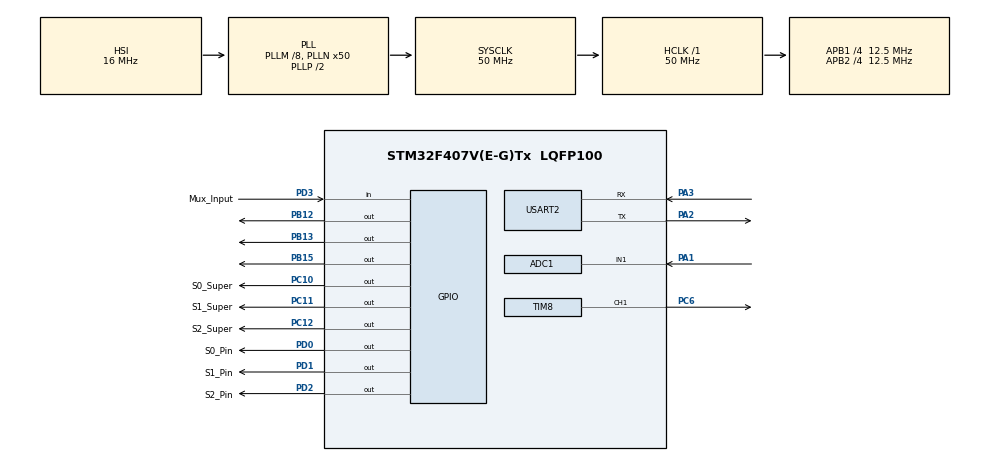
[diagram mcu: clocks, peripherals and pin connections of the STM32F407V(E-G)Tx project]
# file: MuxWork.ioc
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ADC1.Channel-0\#ChannelRegularConversion=ADC_CHANNEL_1
ADC1.NbrOfConversionFlag=1
ADC1.Rank-0\#ChannelRegularConversion=1
ADC1.SamplingTime-0\#ChannelRegularConversion=ADC_SAMPLETIME_3CYCLES
ADC1.master=1
Dma.Request0=TIM8_CH1
Dma.TIM8_CH1.0.Direction=DMA_MEMORY_TO_PERIPH
Dma.TIM8_CH1.0.FIFOMode=DMA_FIFOMODE_DISABLE
Dma.TIM8_CH1.0.Instance=DMA2_Stream2
Dma.TIM8_CH1.0.MemDataAlignment=DMA_MDATAALIGN_HALFWORD
Dma.TIM8_CH1.0.MemInc=DMA_MINC_ENABLE
Dma.TIM8_CH1.0.Mode=DMA_NORMAL
Dma.TIM8_CH1.0.PeriphDataAlignment=DMA_PDATAALIGN_HALFWORD
Dma.TIM8_CH1.0.PeriphInc=DMA_PINC_DISABLE
Dma.TIM8_CH1.0.Priority=DMA_PRIORITY_HIGH
Mcu.Family=STM32F4
Mcu.Name=STM32F407V(E-G)Tx
Mcu.Package=LQFP100
NVIC.DMA2_Stream2_IRQn=true\:0\:0\:false\:false\:true\:false\:true
NVIC.PriorityGroup=NVIC_PRIORITYGROUP_0
NVIC.TIM1_UP_TIM10_IRQn=true\:0\:0\:false\:false\:true\:false\:true
NVIC.TimeBase=TIM1_UP_TIM10_IRQn
NVIC.TimeBaseIP=TIM1
PA1.Signal=ADCx_IN1
PA2.Mode=Asynchronous
PA2.Signal=USART2_TX
PA3.Mode=Asynchronous
PA3.Signal=USART2_RX
PB12.Signal=GPIO_Output
PB13.Signal=GPIO_Output
PB15.Signal=GPIO_Output
PC10.GPIO_Label=S0_Super
PC10.Signal=GPIO_Output
PC11.GPIO_Label=S1_Super
PC11.Signal=GPIO_Output
PC12.GPIO_Label=S2_Super
PC12.Signal=GPIO_Output
PC6.Signal=S_TIM8_CH1
PD0.GPIO_Label=S0_Pin
PD0.Signal=GPIO_Output
PD1.GPIO_Label=S1_Pin
PD1.Signal=GPIO_Output
PD2.GPIO_Label=S2_Pin
PD2.Signal=GPIO_Output
PD3.GPIO_Label=Mux_Input
PD3.Signal=GPIO_Input
ProjectManager.HeapSize=0x200
ProjectManager.StackSize=0x400
ProjectManager.TargetToolchain=STM32CubeIDE
RCC.48MHZClocksFreq_Value=14285714.285714285
RCC.AHBFreq_Value=50000000
RCC.APB1CLKDivider=RCC_HCLK_DIV4
RCC.APB1Freq_Value=12500000
RCC.APB1TimFreq_Value=25000000
RCC.APB2CLKDivider=RCC_HCLK_DIV4
RCC.APB2Freq_Value=12500000
RCC.APB2TimFreq_Value=25000000
RCC.CortexFreq_Value=50000000
RCC.HCLKFreq_Value=50000000
RCC.HSE_VALUE=8000000
RCC.HSI_VALUE=16000000
RCC.LSE_VALUE=32768
RCC.PLLM=8
RCC.PLLN=50
RCC.PLLQ=7
RCC.SYSCLKFreq_VALUE=50000000
RCC.SYSCLKSource=RCC_SYSCLKSOURCE_PLLCLK
RCC.VCOOutputFreq_Value=100000000
SH.ADCx_IN1.0=ADC1_IN1,IN1
SH.S_TIM8_CH1.0=TIM8_CH1,PWM Generation1 CH1
TIM8.Channel-PWM\ Generation1\ CH1=TIM_CHANNEL_1
TIM8.Period=104
USART2.VirtualMode=VM_ASYNC
VP_SYS_VS_tim1.Mode=TIM1
VP_TIM8_VS_ClockSourceINT.Mode=Internal
board=STM32F407G-DISC1

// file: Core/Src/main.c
/* USER CODE BEGIN Header */
/**
  ******************************************************************************
  * @file           : main.c
  * @brief          : Main program body
  ******************************************************************************
  * @attention
  *
  * <h2><center>&copy; Copyright (c) 2021 STMicroelectronics.
  * All rights reserved.</center></h2>
  *
  * This software component is licensed by ST under Ultimate Liberty license
  * SLA0044, the "License"; You may not use this file except in compliance with
  * the License. You may obtain a copy of the License at:
  *                             www.st.com/SLA0044
  *
  ******************************************************************************
  */
/* USER CODE END Header */
#include "main.h"

/* USER CODE BEGIN PD */
#define CS_HIGH HAL_GPIO_WritePin(GPIOB, GPIO_PIN_12, GPIO_PIN_SET)

#define CS_LOW HAL_GPIO_WritePin(GPIOB, GPIO_PIN_12, GPIO_PIN_RESET)

#define CLK_HIGH HAL_GPIO_WritePin(GPIOB, GPIO_PIN_13, GPIO_PIN_SET)

#define CLK_LOW HAL_GPIO_WritePin(GPIOB, GPIO_PIN_13, GPIO_PIN_RESET)

#define DATA_HIGH HAL_GPIO_WritePin(GPIOB, GPIO_PIN_15, GPIO_PIN_SET)

#define DATA_LOW HAL_GPIO_WritePin(GPIOB, GPIO_PIN_15, GPIO_PIN_RESET)
/* USER CODE END PD */

ADC_HandleTypeDef hadc1;

TIM_HandleTypeDef htim8;
DMA_HandleTypeDef hdma_tim8_ch1;

UART_HandleTypeDef huart2;

void SystemClock_Config(void);
static void MX_GPIO_Init(void);
static void MX_ADC1_Init(void);
static void MX_DMA_Init(void);
static void MX_TIM8_Init(void);
static void MX_USART2_UART_Init(void);

/* USER CODE BEGIN 0 */
	void setup_bb() {
		CS_HIGH;
		CLK_LOW;
	}

	void small_delay() {
		HAL_Delay(1);
	}

	void bb_write_bit(int b) {
		if (b) DATA_HIGH;
		else   DATA_LOW;
		small_delay();
		CLK_HIGH;
		small_delay();
		CLK_LOW;
	}

	void bb_write_byte(int b) {
		for (int i = 7; i >= 0; --i) bb_write_bit((b >> i) & 1);
	}

	void bb_cmd(int data) {
		CS_LOW;
		small_delay();
		bb_write_bit(0);
		bb_write_bit(0);
		bb_write_byte(data);
		small_delay();
		CS_HIGH;
		small_delay();
	}

	void bb_data(int data) {
		CS_LOW;
		small_delay();
		bb_write_bit(1);
		bb_write_bit(0);
		bb_write_byte(data);
		small_delay();
		CS_HIGH;
		small_delay();
	}

	void bb_init_oled() {
		HAL_Delay(1); // 1 ms
		bb_cmd(0x38);
		bb_cmd(0x08);
		bb_cmd(0x01);
		HAL_Delay(2); // 2 ms
		bb_cmd(0x06);
		bb_cmd(0x02);
		bb_cmd(0x0c);
	}

	void bb_display1 (const char* str) {
		bb_cmd(0x02);
		for (int i = 0; i < strlen(str); ++i) if (str[i] != '\0') bb_data(str[i]);
	}

	void bb_display2 (const char* str) {
		bb_cmd(0xc0);
//		for (int i = 0; i < 6; ++i) if (str[i] != '\0') bb_data(str[i]);
		int flag = 0;
		int i = 0;
		int count = 0;

		while(count < 6){
			if (str[i] != '\0' && (str[i] == '+'|| flag)){
				flag = 1;
				bb_data(str[i]);
				count++;
			}
			i++;
			if(i == 6){
				i = 0;
			}
		}
	}

	//For row board select lines:
	#define S0_Pin GPIO_PIN_2
	#define S1_Pin GPIO_PIN_1
	#define S2_Pin GPIO_PIN_0

	//For superMux (trademark pending) select and data lines:
	#define SUPER_MUX_DATA GPIO_PIN_3 //Data input for super mux
	#define S0_SUPER GPIO_PIN_10 //Super select line 0
	#define S1_SUPER GPIO_PIN_11 //Super select line 1
	#define S2_SUPER GPIO_PIN_12 //Super select line 2

	#define PAWN 1
	#define KNIGHT 3
	#define BISHOP 3
	#define ROOK 5
	#define QUEEN 9
	#define KING 40

	/*
	* I think this is mostly standard, but
	* 	Empty: 0
	* 	Pawn: 1
	* 	Knight, Bishop: 3
	* 	Rook: 5
	* 	Queen: 9
	* 	King: 10 for now
	* Positive indicates white (+=white)
	* Negative indicates black (-=black)
	* */

//	int boardData[8][8] = {
//						{-ROOK,-KNIGHT,-BISHOP,-KING,-QUEEN,-BISHOP,-KNIGHT,-ROOK},
//						{-PAWN,-PAWN,-PAWN,-PAWN,-PAWN,-PAWN,-PAWN,-PAWN},
//						{0,0,0,0,0,0,0,0},
//						{0,0,0,0,0,0,0,0},
//						{0,0,0,0,0,0,0,0},
//						{0,0,0,0,0,0,0,0},
//						{PAWN,PAWN,PAWN,PAWN,PAWN,PAWN,PAWN,PAWN},
//						{ROOK,KNIGHT,BISHOP,QUEEN,KING,BISHOP,KNIGHT,ROOK}};
	int boardData[8][8] = {
							{0,0,0,0,0,0,0,0},
							{0,0,0,0,0,0,0,1},
							{0,0,0,0,0,0,0,0},
							{0,0,0,0,0,0,0,0},
							{0,0,0,0,0,0,0,0},
							{0,0,0,0,0,0,0,0},
							{0,0,0,0,0,0,0,0},
							{0,0,0,0,0,0,0,0}};

	int onPins[8][3] = {
					{0,0,0},
					{0,0,1},
					{0,1,0},
					{0,1,1},
					{1,0,0},
					{1,0,1},
					{1,1,0},
					{1,1,1}};

	const int selectPins[3] = {S0_Pin, S1_Pin, S2_Pin};
	const int superPins[3] = {S0_SUPER, S1_SUPER, S2_SUPER};

	int findMissingPiece(){
		//This code determines what value piece was just put down

		int pieceCount[] = {0,0,0,0,0}; //King, Queen, Bishop, Rook, Pawn

		/*EXPLANATION:
		 * If there is a white piece present, we add 1 * (piece value) to the respective pieceCount
		 * If there is a black piece present, we subtract 1 * (piece value) to the respective pieceCount
		 *
		 * At the end of the program, we can check this list and easily determine which piece was not present & return
		 */

		for(int row = 0;row < 7;row++){
			for(int col = 0;col < 7;col++){
				int current_board_val = boardData[row][col];
				switch(current_board_val){
					case KING:
					case -KING:
						pieceCount[0] += current_board_val;
						break;
					case QUEEN:
					case -QUEEN:
						pieceCount[1] += current_board_val;
						break;
					case BISHOP:
					case -BISHOP:
						pieceCount[2] += current_board_val;
						break;
					case ROOK:
					case -ROOK:
						pieceCount[3] += current_board_val;
						break;
					case PAWN:
					case -PAWN:
						pieceCount[4] += current_board_val;
						break;
					default:
						break;

				}
			}
		}

		for(int i = 0;i < 6;i++){
			if(pieceCount[i] != 0){
				return pieceCount[i];
			}
		}
	}

	//Works
	void choseSelectLineMux(int muxPin)
	{
		//Reset all pins:
		for(int i=0;i<3;i++){
			HAL_GPIO_WritePin(GPIOD, selectPins[i], GPIO_PIN_RESET);
		}

		//Turn on correct pins:
		for(int i=2;i>=0;i--){
			if(onPins[muxPin][i]){
				HAL_GPIO_WritePin(GPIOD, selectPins[i], GPIO_PIN_SET);
			}
		}
	}

	//Works
	void choseSelectLineSuper(int muxPin)
		{
			//Reset all pins:
			for(int i=0;i<3;i++){
				HAL_GPIO_WritePin(GPIOC, superPins[i], GPIO_PIN_RESET);
			}

			//Turn on correct pins:
			for(int i=2;i>=0;i--){
				if(onPins[muxPin][2-i]){
					HAL_GPIO_WritePin(GPIOC, superPins[i], GPIO_PIN_SET);
				}
			}
		}

	//To be verified
	void readSuperMux(){
		//MIGHT WANT TO NOT USE A GLOBAL SOURCE!
		int dest_row=-1, dest_hall=-1, source_row=-1, source_hall=-1; //x,y coordinates for source and destination of piece

		int change_detected = 0; //0 means no, 1 means yes

//		bb_display2("reading hall");

		for(int row=0;row<8;row++){
			//Iterate through each ROW BOARD (line below selects 1 row at a time)
			choseSelectLineSuper(row);

			for(int hall=0;hall<8;hall++){
				//Iterate through each HALL SENSOR (line below selects 1 hall at a time)
				choseSelectLineMux(hall);

				/* KEY (i.e. code meaning in english):
				 * (first if statement): If there isn't a piece where there previously was
				 * - !(HAL_GPIO_ReadPin(GPIOD, SUPER_MUX_DATA)): 1 means piece detected
				 * - boardData[row][col] == 0: Means position at {row, col} previously didn't have a piece
				 *
				 * (second if statement): If there is a piece where there previously wasn't
				 * - (HAL_GPIO_ReadPin(GPIOD, SUPER_MUX_DATA)): 1 means piece NOT detected
				 * - boardData[row][col] == 0: Means position at {row, col} previously had a piece
				 * */

				//If the current location is nonzero, but the previous state is 0, we are moving a piece here
				if((!(HAL_GPIO_ReadPin(GPIOD, SUPER_MUX_DATA))) && boardData[row][hall] == 0){
					change_detected = 1;
					dest_row = row;
					dest_hall = hall;
				}

				//If the current location is zero, but the previous state is nonzero, we are taking a piece from here
				if((HAL_GPIO_ReadPin(GPIOD, SUPER_MUX_DATA)) && boardData[row][hall] != 0){
					change_detected = 1;
					source_row = row;
					source_hall = hall;
				}
			}
		}

		//If a change was detected (flag was raised)

//		bb_display2("             ");
		if(change_detected){ //Continue here...
			change_detected = 0; //Reset value (redundant)

			char move_to_send[2]; //The array of information to send
			char test_with_display[3];

			int ready_to_receive = 0;

			if(dest_row != -1){ //Destination changed
				move_to_send[0] = (char)(((8*dest_row) + dest_hall) + 40);
				sprintf(test_with_display, "%2d", ((8*dest_row) + dest_hall));
				move_to_send[1] = test_with_display[2] = 'd';
				ready_to_receive = 1;
			}else{ //Source changed
				move_to_send[0] = (char)(((8*source_row) + source_hall) + 40);
				sprintf(test_with_display, "%2d", ((8*source_row) + source_hall));
				move_to_send[1] = test_with_display[2] = 's';
			}

			//comment this out
			bb_display1(move_to_send);
//			bb_display1(test_with_display);
//			Send to Vik via USB UART code ...

		    HAL_UART_AbortReceive(&huart2);
		    HAL_UART_Transmit(&huart2, move_to_send, sizeof(move_to_send), 10);
//		    bb_display2("move transmitted");

		    //Wait to recieve squares to light up from Vik...
		    char squares_to_light[2];

		    //Initially render all LEDs black
		    all_black_render();

		    HAL_UART_AbortTransmit(&huart2);
		    HAL_UART_Receive(&huart2, squares_to_light, sizeof(squares_to_light), 10000000);
//		    bb_display1("received");
		    bb_display1(squares_to_light);

		    for(int i = 0;i < 28;i++){
		    	int square = ((int)squares_to_light[i]) - 40;

		    	if(square < 0 || square > 63){
		    		break;
		    	}else{
		    		 int square_to_light;
		    		 //1. As there are 15 LEDs/row, determine which specific LED goes on
		    		 if(square > 7){
		    			 square_to_light = (square*2) - (int)(8/square); //The first component accounts for 1 'working' LED for every 'hidden' LED.  The second component accounts for the fact that there are 15/row, not 16/row

		    		 }else{
		    			 square_to_light = (square*2);
		    		 }

					 //2. With how LEDs are wired, odd # rows (starting at 0) are 'backwards'
					 int row = (int)square/8;

					 if(row % 2){ //If the row is odd...
						 int flip_key[8] = {7, 5, 3, 1, -1, -3, -5, -7};

						 square_to_light += (2*flip_key[square % 8]);
					 }

					 render_one_led(square, 50, 50, 0); //Render LED purple
		    	}
		    }

		    render_neopixel();
//
//		    //BREAK (stuff below here works as expected)
//
//		    //RECEIVE EVALUATION FROM VIK & DISPLAY (CODE FROM RYAN):
		    char evaluation[6];
//		    bb_display2("abort transm");
		    HAL_UART_AbortTransmit(&huart2);
//		    bb_display2("waiting 4 eval  ");
			HAL_UART_Receive(&huart2, evaluation, sizeof(evaluation), 10000000);

////			bb_display1("Evaluation:");
			bb_display2(evaluation);

		    //If the destination changed, update array representation of board:
			if(dest_row != -1 && dest_hall != -1){
				boardData[dest_row][dest_hall] = 1; //findMissingPiece(); //boardData[SOURCE_X][SOURCE_Y];
			}

			//If the source changed, update array representation of board:
			if(source_row != -1 && source_hall != -1){
				boardData[source_row][source_hall] = 0;
			}
		}

		return boardData;
	}

/*
*-*_*-*_*-*_*-*_*-*_*-*_*-*_*-*_*-*_*-*_*-*_*-*_*-*_*-*_*-*_*-*_*-*_*-*
NOTE:
	- To actually use this, we just need to call: readSuperMux() in main
	- Near the end of readSuperMux(), we still need to add the method used to send USB data ({FUNCTION CALL HERE})
*-*_*-*_*-*_*-*_*-*_*-*_*-*_*-*_*-*_*-*_*-*_*-*_*-*_*-*_*-*_*-*_*-*_*-*
*/

/* USER CODE END 0 */

int main(void)
{

  /* MCU Configuration--------------------------------------------------------*/

  /* Reset of all peripherals, Initializes the Flash interface and the Systick. */
  HAL_Init();

  /* Configure the system clock */
  SystemClock_Config();

  /* Initialize all configured peripherals */
  MX_GPIO_Init();
  MX_ADC1_Init();
  MX_DMA_Init();
  MX_TIM8_Init();
  MX_USART2_UART_Init();
  /* USER CODE BEGIN 2 */
  setup_bb();
  bb_init_oled();
//  init_neopixel(WS2812B);
  all_black_render();

  uint8_t pData[1];

//  bb_display1("                       ");
//  bb_display2("                       ");
  /* USER CODE END 2 */

  /* Infinite loop */
  while (1)
  {

    /* USER CODE BEGIN 3 */
	  readSuperMux();

//	  char test[5];
//	  //assign to pdata
////			  (int)0, pData, 1);
////	  continue;
//
//	  HAL_UART_AbortTransmit(&huart2);
//	  HAL_UART_Receive(&huart2, test, sizeof(test), 10000000);
////	  HAL_UART_AbortReceive(&huart2);
////	  HAL_UART_Transmit(&huart2, pData, sizeof(pData), 10);
//	  bb_display2(test);

//	  HAL_GPIO_ReadPin(GPIOB, ROW_MUX_DATA);
  }
  /* USER CODE END 3 */
}

void SystemClock_Config(void)
{
  RCC_OscInitTypeDef RCC_OscInitStruct = {0};
  RCC_ClkInitTypeDef RCC_ClkInitStruct = {0};

  /** Configure the main internal regulator output voltage
  */
  __HAL_RCC_PWR_CLK_ENABLE();
  __HAL_PWR_VOLTAGESCALING_CONFIG(PWR_REGULATOR_VOLTAGE_SCALE1);
  /** Initializes the RCC Oscillators according to the specified parameters
  * in the RCC_OscInitTypeDef structure.
  */
  RCC_OscInitStruct.OscillatorType = RCC_OSCILLATORTYPE_HSI;
  RCC_OscInitStruct.HSIState = RCC_HSI_ON;
  RCC_OscInitStruct.HSICalibrationValue = RCC_HSICALIBRATION_DEFAULT;
  RCC_OscInitStruct.PLL.PLLState = RCC_PLL_ON;
  RCC_OscInitStruct.PLL.PLLSource = RCC_PLLSOURCE_HSI;
  RCC_OscInitStruct.PLL.PLLM = 8;
  RCC_OscInitStruct.PLL.PLLN = 50;
  RCC_OscInitStruct.PLL.PLLP = RCC_PLLP_DIV2;
  RCC_OscInitStruct.PLL.PLLQ = 7;
  if (HAL_RCC_OscConfig(&RCC_OscInitStruct) != HAL_OK)
  {
    Error_Handler();
  }
  /** Initializes the CPU, AHB and APB buses clocks
  */
  RCC_ClkInitStruct.ClockType = RCC_CLOCKTYPE_HCLK|RCC_CLOCKTYPE_SYSCLK
                              |RCC_CLOCKTYPE_PCLK1|RCC_CLOCKTYPE_PCLK2;
  RCC_ClkInitStruct.SYSCLKSource = RCC_SYSCLKSOURCE_PLLCLK;
  RCC_ClkInitStruct.AHBCLKDivider = RCC_SYSCLK_DIV1;
  RCC_ClkInitStruct.APB1CLKDivider = RCC_HCLK_DIV4;
  RCC_ClkInitStruct.APB2CLKDivider = RCC_HCLK_DIV4;

  if (HAL_RCC_ClockConfig(&RCC_ClkInitStruct, FLASH_LATENCY_1) != HAL_OK)
  {
    Error_Handler();
  }
}

static void MX_ADC1_Init(void)
{

  ADC_ChannelConfTypeDef sConfig = {0};

  /** Configure the global features of the ADC (Clock, Resolution, Data Alignment and number of conversion)
  */
  hadc1.Instance = ADC1;
  hadc1.Init.ClockPrescaler = ADC_CLOCK_SYNC_PCLK_DIV2;
  hadc1.Init.Resolution = ADC_RESOLUTION_12B;
  hadc1.Init.ScanConvMode = DISABLE;
  hadc1.Init.ContinuousConvMode = DISABLE;
  hadc1.Init.DiscontinuousConvMode = DISABLE;
  hadc1.Init.ExternalTrigConvEdge = ADC_EXTERNALTRIGCONVEDGE_NONE;
  hadc1.Init.ExternalTrigConv = ADC_SOFTWARE_START;
  hadc1.Init.DataAlign = ADC_DATAALIGN_RIGHT;
  hadc1.Init.NbrOfConversion = 1;
  hadc1.Init.DMAContinuousRequests = DISABLE;
  hadc1.Init.EOCSelection = ADC_EOC_SINGLE_CONV;
  if (HAL_ADC_Init(&hadc1) != HAL_OK)
  {
    Error_Handler();
  }
  /** Configure for the selected ADC regular channel its corresponding rank in the sequencer and its sample time.
  */
  sConfig.Channel = ADC_CHANNEL_1;
  sConfig.Rank = 1;
  sConfig.SamplingTime = ADC_SAMPLETIME_3CYCLES;
  if (HAL_ADC_ConfigChannel(&hadc1, &sConfig) != HAL_OK)
  {
    Error_Handler();
  }

}

static void MX_TIM8_Init(void)
{

  TIM_ClockConfigTypeDef sClockSourceConfig = {0};
  TIM_MasterConfigTypeDef sMasterConfig = {0};
  TIM_OC_InitTypeDef sConfigOC = {0};
  TIM_BreakDeadTimeConfigTypeDef sBreakDeadTimeConfig = {0};

  htim8.Instance = TIM8;
  htim8.Init.Prescaler = 0;
  htim8.Init.CounterMode = TIM_COUNTERMODE_UP;
  htim8.Init.Period = 104;
  htim8.Init.ClockDivision = TIM_CLOCKDIVISION_DIV1;
  htim8.Init.RepetitionCounter = 0;
  htim8.Init.AutoReloadPreload = TIM_AUTORELOAD_PRELOAD_DISABLE;
  if (HAL_TIM_Base_Init(&htim8) != HAL_OK)
  {
    Error_Handler();
  }
  sClockSourceConfig.ClockSource = TIM_CLOCKSOURCE_INTERNAL;
  if (HAL_TIM_ConfigClockSource(&htim8, &sClockSourceConfig) != HAL_OK)
  {
    Error_Handler();
  }
  if (HAL_TIM_PWM_Init(&htim8) != HAL_OK)
  {
    Error_Handler();
  }
  sMasterConfig.MasterOutputTrigger = TIM_TRGO_RESET;
  sMasterConfig.MasterSlaveMode = TIM_MASTERSLAVEMODE_DISABLE;
  if (HAL_TIMEx_MasterConfigSynchronization(&htim8, &sMasterConfig) != HAL_OK)
  {
    Error_Handler();
  }
  sConfigOC.OCMode = TIM_OCMODE_PWM1;
  sConfigOC.Pulse = 0;
  sConfigOC.OCPolarity = TIM_OCPOLARITY_HIGH;
  sConfigOC.OCNPolarity = TIM_OCNPOLARITY_HIGH;
  sConfigOC.OCFastMode = TIM_OCFAST_DISABLE;
  sConfigOC.OCIdleState = TIM_OCIDLESTATE_RESET;
  sConfigOC.OCNIdleState = TIM_OCNIDLESTATE_RESET;
  if (HAL_TIM_PWM_ConfigChannel(&htim8, &sConfigOC, TIM_CHANNEL_1) != HAL_OK)
  {
    Error_Handler();
  }
  sBreakDeadTimeConfig.OffStateRunMode = TIM_OSSR_DISABLE;
  sBreakDeadTimeConfig.OffStateIDLEMode = TIM_OSSI_DISABLE;
  sBreakDeadTimeConfig.LockLevel = TIM_LOCKLEVEL_OFF;
  sBreakDeadTimeConfig.DeadTime = 0;
  sBreakDeadTimeConfig.BreakState = TIM_BREAK_DISABLE;
  sBreakDeadTimeConfig.BreakPolarity = TIM_BREAKPOLARITY_HIGH;
  sBreakDeadTimeConfig.AutomaticOutput = TIM_AUTOMATICOUTPUT_DISABLE;
  if (HAL_TIMEx_ConfigBreakDeadTime(&htim8, &sBreakDeadTimeConfig) != HAL_OK)
  {
    Error_Handler();
  }
  HAL_TIM_MspPostInit(&htim8);

}

static void MX_USART2_UART_Init(void)
{

  huart2.Instance = USART2;
  huart2.Init.BaudRate = 115200;
  huart2.Init.WordLength = UART_WORDLENGTH_8B;
  huart2.Init.StopBits = UART_STOPBITS_1;
  huart2.Init.Parity = UART_PARITY_NONE;
  huart2.Init.Mode = UART_MODE_TX_RX;
  huart2.Init.HwFlowCtl = UART_HWCONTROL_NONE;
  huart2.Init.OverSampling = UART_OVERSAMPLING_16;
  if (HAL_UART_Init(&huart2) != HAL_OK)
  {
    Error_Handler();
  }

}

static void MX_DMA_Init(void)
{

  /* DMA controller clock enable */
  __HAL_RCC_DMA2_CLK_ENABLE();

  /* DMA interrupt init */
  /* DMA2_Stream2_IRQn interrupt configuration */
  HAL_NVIC_SetPriority(DMA2_Stream2_IRQn, 0, 0);
  HAL_NVIC_EnableIRQ(DMA2_Stream2_IRQn);

}

static void MX_GPIO_Init(void)
{
  GPIO_InitTypeDef GPIO_InitStruct = {0};

  /* GPIO Ports Clock Enable */
  __HAL_RCC_GPIOA_CLK_ENABLE();
  __HAL_RCC_GPIOB_CLK_ENABLE();
  __HAL_RCC_GPIOC_CLK_ENABLE();
  __HAL_RCC_GPIOD_CLK_ENABLE();

  /*Configure GPIO pin Output Level */
  HAL_GPIO_WritePin(GPIOB, GPIO_PIN_12|GPIO_PIN_13|GPIO_PIN_15, GPIO_PIN_RESET);

  /*Configure GPIO pin Output Level */
  HAL_GPIO_WritePin(GPIOC, S0_Super_Pin|S1_Super_Pin|S2_Super_Pin, GPIO_PIN_RESET);

  /*Configure GPIO pin Output Level */
  HAL_GPIO_WritePin(GPIOD, S0_Pin_Pin|S1_Pin_Pin|S2_Pin_Pin, GPIO_PIN_RESET);

  /*Configure GPIO pins : PB12 PB13 PB15 */
  GPIO_InitStruct.Pin = GPIO_PIN_12|GPIO_PIN_13|GPIO_PIN_15;
  GPIO_InitStruct.Mode = GPIO_MODE_OUTPUT_PP;
  GPIO_InitStruct.Pull = GPIO_NOPULL;
  GPIO_InitStruct.Speed = GPIO_SPEED_FREQ_LOW;
  HAL_GPIO_Init(GPIOB, &GPIO_InitStruct);

  /*Configure GPIO pins : S0_Super_Pin S1_Super_Pin S2_Super_Pin */
  GPIO_InitStruct.Pin = S0_Super_Pin|S1_Super_Pin|S2_Super_Pin;
  GPIO_InitStruct.Mode = GPIO_MODE_OUTPUT_PP;
  GPIO_InitStruct.Pull = GPIO_NOPULL;
  GPIO_InitStruct.Speed = GPIO_SPEED_FREQ_LOW;
  HAL_GPIO_Init(GPIOC, &GPIO_InitStruct);

  /*Configure GPIO pins : S0_Pin_Pin S1_Pin_Pin S2_Pin_Pin */
  GPIO_InitStruct.Pin = S0_Pin_Pin|S1_Pin_Pin|S2_Pin_Pin;
  GPIO_InitStruct.Mode = GPIO_MODE_OUTPUT_PP;
  GPIO_InitStruct.Pull = GPIO_NOPULL;
  GPIO_InitStruct.Speed = GPIO_SPEED_FREQ_LOW;
  HAL_GPIO_Init(GPIOD, &GPIO_InitStruct);

  /*Configure GPIO pin : Mux_Input_Pin */
  GPIO_InitStruct.Pin = Mux_Input_Pin;
  GPIO_InitStruct.Mode = GPIO_MODE_INPUT;
  GPIO_InitStruct.Pull = GPIO_NOPULL;
  HAL_GPIO_Init(Mux_Input_GPIO_Port, &GPIO_InitStruct);

}

void HAL_TIM_PeriodElapsedCallback(TIM_HandleTypeDef *htim)
{
  if (htim->Instance == TIM1) {
    HAL_IncTick();
  }
}

void Error_Handler(void)
{
  __disable_irq();
  while (1)
  {
  }
}

/************************ (C) COPYRIGHT STMicroelectronics *****END OF FILE****/
